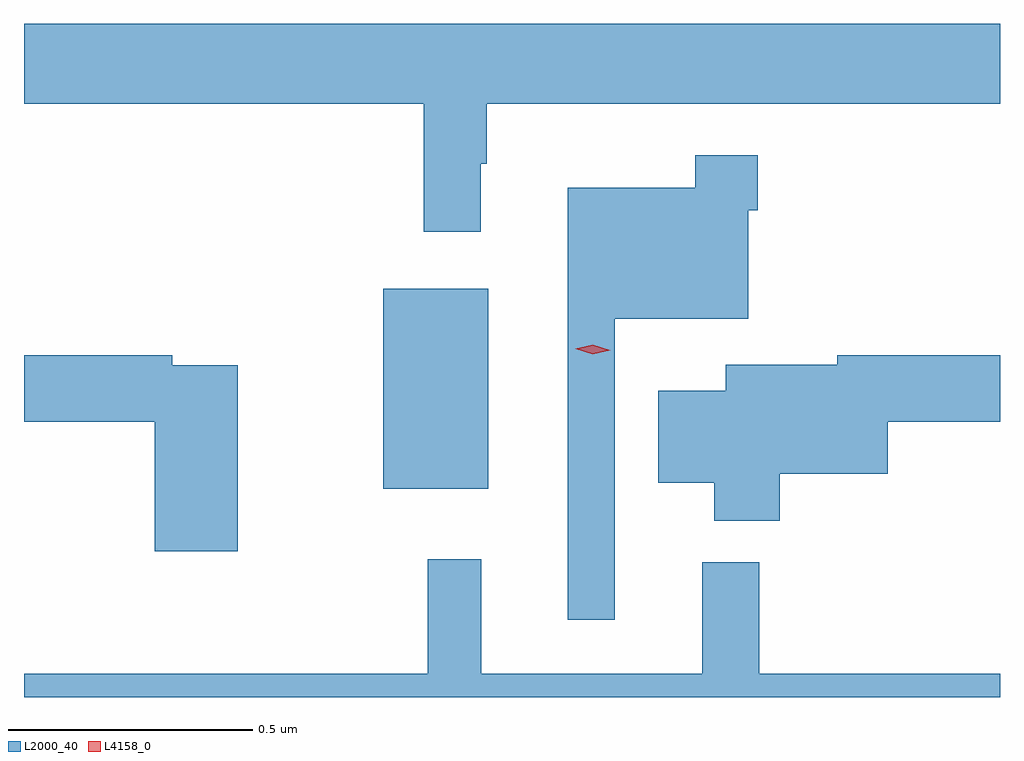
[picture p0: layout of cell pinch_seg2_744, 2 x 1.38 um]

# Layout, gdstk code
import gdstk
lib = gdstk.Library(unit=1e-6, precision=1e-09)
def R(c, l, rs):  # rectangles x0, y0, x1, y1
    for r in rs: c.add(gdstk.rectangle(r[:2], r[2:], *l))
def P(c, l, *ps):  # polygons
    for p in ps: c.add(gdstk.Polygon(p, *l))
L2000_40 = (2000, 40)
L4158_0 = (4158, 0)

pinch_seg2_744 = lib.new_cell('pinch_seg2_744')
R(pinch_seg2_744, L2000_40, [(786.734,662.831,786.949,663.241)])
P(pinch_seg2_744, L2000_40, [(786.934,663.497),(786.946,663.497),(786.946,663.62),(787.998,663.62),(787.998,663.784),(785.998,663.784),(785.998,663.62),(786.817,663.62),(786.817,663.357),(786.934,663.357)],
  [(787.209,663.179),(787.482,663.179),(787.482,663.401),(787.502,663.401),(787.502,663.514),(787.374,663.514),(787.374,663.448),(787.112,663.448),(787.112,662.562),(787.209,662.562)],
  [(787.547,662.861),(787.768,662.861),(787.768,662.968),(787.998,662.968),(787.998,663.104),(787.664,663.104),(787.664,663.085),(787.436,663.085),(787.436,663.031),(787.298,663.031),(787.298,662.843),(787.412,662.843),(787.412,662.765),(787.547,662.765)],
  [(786.436,663.084),(786.302,663.084),(786.302,663.104),(785.998,663.104),(785.998,662.968),(786.266,662.968),(786.266,662.703),(786.436,662.703)],
  [(787.998,662.452),(787.505,662.452),(787.505,662.68),(787.388,662.68),(787.388,662.452),(786.935,662.452),(786.935,662.686),(786.825,662.686),(786.825,662.452),(785.998,662.452),(785.998,662.403),(787.998,662.403)])
P(pinch_seg2_744, L4158_0, [(787.163,663.106),(787.128,663.118),(787.127,663.118),(787.128,663.118),(787.163,663.126),(787.199,663.115),(787.199,663.115),(787.199,663.115)])

lib.write_gds('pinch_seg2_744.gds')
